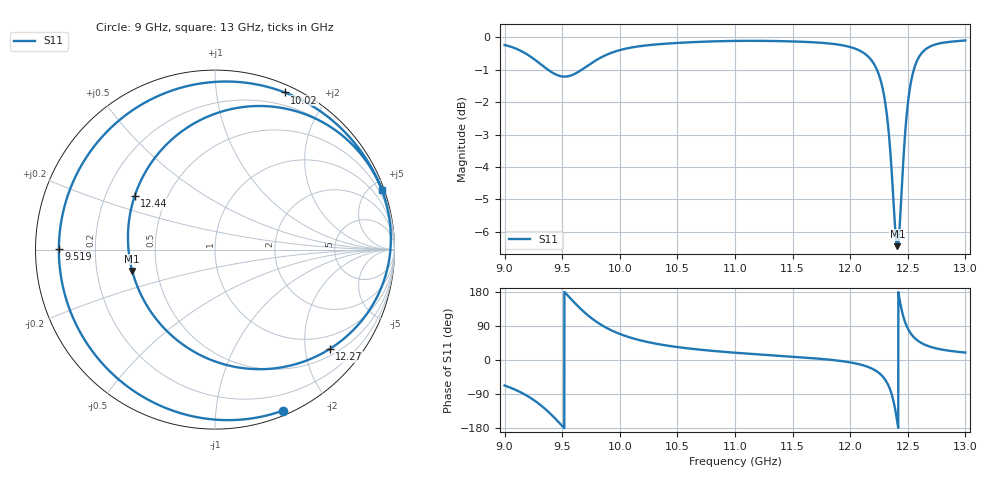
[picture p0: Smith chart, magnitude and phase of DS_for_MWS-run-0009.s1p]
! TOUCHSTONE file generated by CST DESIGN STUDIO
! Date and time: Tue Feb  4 12:51:38 2025
! Project name: C:\Work\MatlabApps\UnitCellOptimizationMatlab\CST\unitcell.cst
! Tree item: Tasks\Sweep1\SPara1\S-Parameters
! Header version: 2024
! Port assignment regex: !\s*Touchstone port\s*([0-9]+)\s*=\s*(CST MWS port|CST DES external port|CST DES block port)\s*(.+)\s* \(\"(.*)\"\)(\s*mode\s*([0-9]+))?.*
! Touchstone port assignment:
! Touchstone port 1 = CST DES external port 1 ("")
# GHz S MA R 50
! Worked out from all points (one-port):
!   4001 points, 9 GHz to 13 GHz, reference 50 ohm
!   lowest |S11| = -6.4 dB at 12.41 GHz (marker M1), VSWR 2.82, Z = 18 - j5.51 ohm
!   |S11| at or under -10 dB: nowhere
!   S11 on the Smith chart (normalised r, x): 9 GHz: 0.04, -1.50; 9.519 GHz: 0.07, +0.00; 10.02 GHz: 0.07, +1.54; 12.27 GHz: 0.65, -2.54; 12.44 GHz: 0.33, +0.27; 13 GHz: 0.19, +5.76
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9  0.9732 -67.2
9.164  0.9484 -89.1
9.282  0.9182 -111.9
9.386  0.889 -138.5
9.5  0.8704 -174.1
9.519  0.8699 179.7
9.611  0.8788 149.8
9.736  0.908 114.7
9.848  0.9333 91.1
10  0.9558 68.8
10.024  0.9582 66.0
10.228  0.9718 48.3
10.5  0.9805 34.1
11  0.9875 19.2
11.5  0.9858 8.7
12  0.9663 -6.3
12.175  0.9264 -20.7
12.274  0.8457 -40.9
12.316  0.7657 -58.0
12.355  0.6413 -85.4
12.382  0.5351 -117.2
12.41  0.4762 -165.6
12.437  0.5383 146.2
12.468  0.6752 107.7
12.5  0.7894 83.2
12.565  0.9061 56.4
12.65  0.9572 40.0
13  0.9892 19.7
